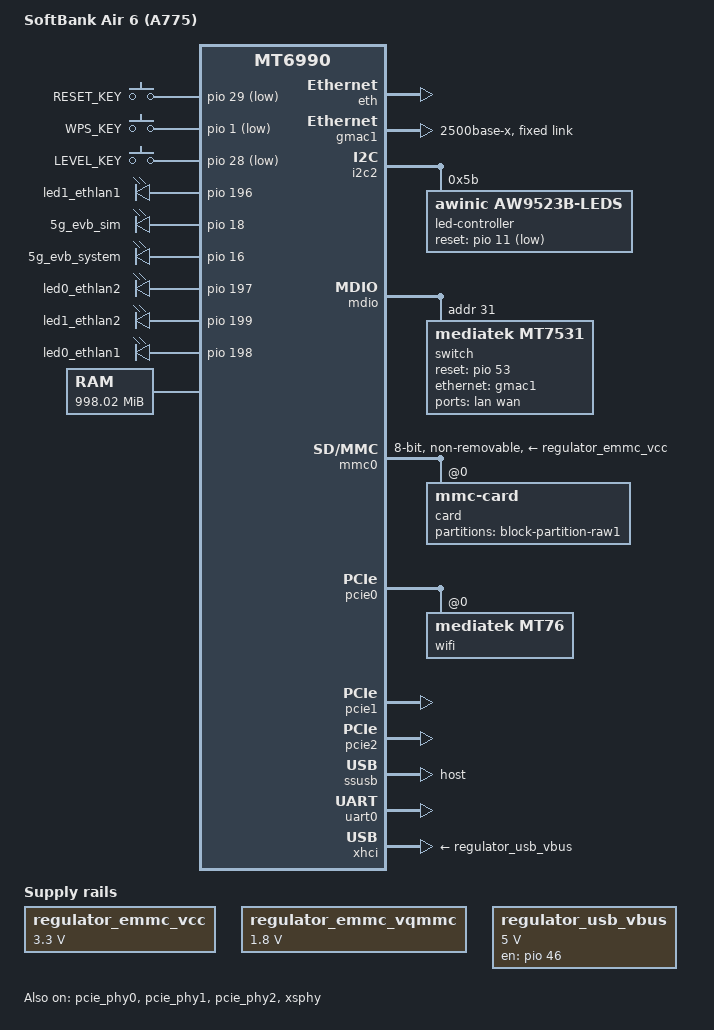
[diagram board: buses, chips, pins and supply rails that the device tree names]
// SPDX-License-Identifier: GPL-2.0-only
/*
 * SoftBank Air 6 (A775)
 */

/dts-v1/;

#include <dt-bindings/gpio/gpio.h>
#include <dt-bindings/input/input.h>
#include <dt-bindings/leds/common.h>
#include <dt-bindings/pinctrl/mt65xx.h>
#include <dt-bindings/thermal/thermal.h>

#include "mt6990.dtsi"

/ {
	model = "SoftBank Air 6 (A775)";
	compatible = "softbank,air6", "mediatek,mt6990";

	aliases {
		led-boot = &led_power_green;
		led-failsafe = &led_power_red;
		led-running = &led_power_green;
		led-upgrade = &led_power_green;
	};

	/*
	 * LK keeps these arguments and appends its own (root=, bootslot=, ...).
	 * clk_ignore_unused and fw_devlink=off keep clocks and probe order as in the
	 * stock firmware; the ramoops region matches /reserved-memory; the
	 * air6_dt_bootargs=1 marker shows that the arguments came from this file.
	 */
	chosen {
		bootargs = "console=tty0 console=ttyS0,115200n1 init=/etc/preinit root=/dev/mmcblk0p39 rootwait loglevel=8 androidboot.selinux=permissive androidboot.hardware=mt6990 mtk_printk_ctrl.disable_uart=0 clk_ignore_unused fw_devlink=off deferred_probe_timeout=10 pci=pcie_bus_safe ramoops.mem_address=0x9c100000 ramoops.mem_size=0xe0000 ramoops.record_size=0x1000 ramoops.pmsg_size=0x10000 ramoops.console_size=0x40000 ramoops.ftrace_size=0x1000 air6_dt_bootargs=1";
	};

	keys {
		compatible = "gpio-keys-polled";
		poll-interval = <20>;

		button-reset {
			label = "RESET_KEY";
			gpios = <&pio 29 GPIO_ACTIVE_LOW>;
			debounce-interval = <60>;
			linux,code = <KEY_RESTART>;
		};

		button-wps {
			label = "WPS_KEY";
			gpios = <&pio 1 GPIO_ACTIVE_LOW>;
			debounce-interval = <60>;
			linux,code = <KEY_WPS_BUTTON>;
		};

		button-level {
			label = "LEVEL_KEY";
			gpios = <&pio 28 GPIO_ACTIVE_LOW>;
			debounce-interval = <60>;
			linux,code = <BTN_0>;
		};
	};

	/*
	 * Ethernet jack LEDs on SoC GPIOs. The labels are the names that
	 * board.d/01_leds uses; the 5g_evb_* LEDs come from the stock device tree.
	 */
	leds {
		compatible = "gpio-leds";

		led-0 {
			label = "led1_ethlan1";
			gpios = <&pio 196 GPIO_ACTIVE_HIGH>;
			default-state = "off";
		};

		led-1 {
			label = "5g_evb_sim";
			gpios = <&pio 18 GPIO_ACTIVE_HIGH>;
			default-state = "off";
		};

		led-2 {
			label = "5g_evb_system";
			gpios = <&pio 16 GPIO_ACTIVE_HIGH>;
			default-state = "off";
		};

		led-3 {
			label = "led0_ethlan2";
			gpios = <&pio 197 GPIO_ACTIVE_HIGH>;
			default-state = "off";
		};

		led-4 {
			label = "led1_ethlan2";
			gpios = <&pio 199 GPIO_ACTIVE_HIGH>;
			default-state = "off";
		};

		led-5 {
			label = "led0_ethlan1";
			gpios = <&pio 198 GPIO_ACTIVE_HIGH>;
			default-state = "off";
		};
	};

	/* LK replaces reg with the size of the installed DRAM. */
	memory {
		reg = <0 0x80000000 0 0x3e605000>;
		device_type = "memory";
	};

	regulator_emmc_vcc: regulator-emmc-vcc {
		compatible = "regulator-fixed";
		regulator-name = "emmc_vcc";
		regulator-min-microvolt = <3300000>;
		regulator-max-microvolt = <3300000>;
		regulator-always-on;
		regulator-boot-on;
	};

	regulator_emmc_vqmmc: regulator-emmc-vqmmc {
		compatible = "regulator-fixed";
		regulator-name = "emmc_vqmmc";
		regulator-min-microvolt = <1800000>;
		regulator-max-microvolt = <1800000>;
		regulator-always-on;
		regulator-boot-on;
	};

	regulator_usb_vbus: regulator-usb-vbus {
		compatible = "regulator-fixed";
		regulator-name = "usb_vbus";
		regulator-min-microvolt = <5000000>;
		regulator-max-microvolt = <5000000>;
		gpio = <&pio 46 GPIO_ACTIVE_HIGH>;
		enable-active-high;
	};

	/*
	 * USB dual-role (OTG) switching as described by the stock tree: not compiled
	 * in. This build runs the port as host only and has no extcon or role-switch
	 * driver. The stock firmware runs the controller with dr_mode = "otg" and
	 * drives the role from GPIO 45 (ID) and 46 (VBUS) in Quectel code; its
	 * extcon_usb takes VBUS from a charger regulator instead of drvbus-gpio.
	 */
#if 0
	extcon_usb {
		compatible = "mediatek,extcon-usb";
		drvbus-gpio = <&pio 46 GPIO_ACTIVE_HIGH>;

		port {
			extcon_usb_role: endpoint@0 {
				remote-endpoint = <&ssusb_role_extcon>;
			};
		};
	};
#endif

	/* Modem side (NTC sensors of the RF front end): not compiled in, see the modem note in mt6990.dtsi. */
#if 0
	thermal_ntc2: thermal-ntc2 {
		compatible = "mediatek,mt6980-board-ntc";
		reg = <0 0x128050d8 0 0x4>;
		temperature-lookup-table = <(-40000) 4397119
		                            (-39000) 4092874
		                            (-38000) 3811717
		                            (-37000) 3551749
		                            (-36000) 3311236
		                            (-35000) 3088599
		                            (-34000) 2882396
		                            (-33000) 2691310
		                            (-32000) 2514137
		                            (-31000) 2349778
		                            (-30000) 2197225
		                            (-29000) 2055558
		                            (-28000) 1923932
		                            (-27000) 1801573
		                            (-26000) 1687773
		                            (-25000) 1581881
		                            (-24000) 1483100
		                            (-23000) 1391113
		                            (-22000) 1305413
		                            (-21000) 1225531
		                            (-20000) 1151037
		                            (-19000) 1081535
		                            (-18000) 1016661
		                            (-17000) 956080
		                            (-16000) 899481
		                            (-15000) 846579
		                            (-14000) 797111
		                            (-13000) 750834
		                            (-12000) 707524
		                            (-11000) 666972
		                            (-10000) 628988
		                            (-9000) 593342
		                            (-8000) 559931
		                            (-7000) 528602
		                            (-6000) 499212
		                            (-5000) 471632
		                            (-4000) 445772
		                            (-3000) 421480
		                            (-2000) 398652
		                            (-1000) 377193
		                            0 357012
		                            1000 338006
		                            2000 320122
		                            3000 303287
		                            4000 287434
		                            5000 272500
		                            6000 258426
		                            7000 245160
		                            8000 232649
		                            9000 220847
		                            10000 209710
		                            11000 199196
		                            12000 189268
		                            13000 179890
		                            14000 171027
		                            15000 162651
		                            16000 154726
		                            17000 147232
		                            18000 140142
		                            19000 133432
		                            20000 127080
		                            21000 121066
		                            22000 115368
		                            23000 109970
		                            24000 104852
		                            25000 100000
		                            26000 95398
		                            27000 91032
		                            28000 86889
		                            29000 82956
		                            30000 79222
		                            31000 75675
		                            32000 72306
		                            33000 69104
		                            34000 66061
		                            35000 63167
		                            36000 60415
		                            37000 57797
		                            38000 55306
		                            39000 52934
		                            40000 50677
		                            41000 48528
		                            42000 46482
		                            43000 44533
		                            44000 42675
		                            45000 40904
		                            46000 39213
		                            47000 37601
		                            48000 36063
		                            49000 34595
		                            50000 33195
		                            51000 31859
		                            52000 30584
		                            53000 29366
		                            54000 28203
		                            55000 27091
		                            56000 26028
		                            57000 25013
		                            58000 24042
		                            59000 23113
		                            60000 22224
		                            61000 21374
		                            62000 20560
		                            63000 19782
		                            64000 19036
		                            65000 18322
		                            66000 17640
		                            67000 16986
		                            68000 16360
		                            69000 15759
		                            70000 15184
		                            71000 14631
		                            72000 14100
		                            73000 13591
		                            74000 13103
		                            75000 12635
		                            76000 12187
		                            77000 11756
		                            78000 11343
		                            79000 10946
		                            80000 10565
		                            81000 10199
		                            82000 9847
		                            83000 9509
		                            84000 9184
		                            85000 8872
		                            86000 8572
		                            87000 8283
		                            88000 8005
		                            89000 7738
		                            90000 7481
		                            91000 7234
		                            92000 6997
		                            93000 6769
		                            94000 6548
		                            95000 6337
		                            96000 6132
		                            97000 5934
		                            98000 5744
		                            99000 5561
		                            100000 5384
		                            101000 5214
		                            102000 5051
		                            103000 4893
		                            104000 4741
		                            105000 4594
		                            106000 4453
		                            107000 4316
		                            108000 4184
		                            109000 4057
		                            110000 3934
		                            111000 3816
		                            112000 3701
		                            113000 3591
		                            114000 3484
		                            115000 3380
		                            116000 3281
		                            117000 3185
		                            118000 3093
		                            119000 3003
		                            120000 2916
		                            121000 2832
		                            122000 2751
		                            123000 2672
		                            124000 2596
		                            125000 2522>;
		#thermal-sensor-cells = <0>;
	};

	thermal_ntc3: thermal-ntc3 {
		compatible = "mediatek,mt6980-board-ntc";
		reg = <0 0x128050dc 0 0x4>;
		temperature-lookup-table = <(-40000) 4397119
		                            (-39000) 4092874
		                            (-38000) 3811717
		                            (-37000) 3551749
		                            (-36000) 3311236
		                            (-35000) 3088599
		                            (-34000) 2882396
		                            (-33000) 2691310
		                            (-32000) 2514137
		                            (-31000) 2349778
		                            (-30000) 2197225
		                            (-29000) 2055558
		                            (-28000) 1923932
		                            (-27000) 1801573
		                            (-26000) 1687773
		                            (-25000) 1581881
		                            (-24000) 1483100
		                            (-23000) 1391113
		                            (-22000) 1305413
		                            (-21000) 1225531
		                            (-20000) 1151037
		                            (-19000) 1081535
		                            (-18000) 1016661
		                            (-17000) 956080
		                            (-16000) 899481
		                            (-15000) 846579
		                            (-14000) 797111
		                            (-13000) 750834
		                            (-12000) 707524
		                            (-11000) 666972
		                            (-10000) 628988
		                            (-9000) 593342
		                            (-8000) 559931
		                            (-7000) 528602
		                            (-6000) 499212
		                            (-5000) 471632
		                            (-4000) 445772
		                            (-3000) 421480
		                            (-2000) 398652
		                            (-1000) 377193
		                            0 357012
		                            1000 338006
		                            2000 320122
		                            3000 303287
		                            4000 287434
		                            5000 272500
		                            6000 258426
		                            7000 245160
		                            8000 232649
		                            9000 220847
		                            10000 209710
		                            11000 199196
		                            12000 189268
		                            13000 179890
		                            14000 171027
		                            15000 162651
		                            16000 154726
		                            17000 147232
		                            18000 140142
		                            19000 133432
		                            20000 127080
		                            21000 121066
		                            22000 115368
		                            23000 109970
		                            24000 104852
		                            25000 100000
		                            26000 95398
		                            27000 91032
		                            28000 86889
		                            29000 82956
		                            30000 79222
		                            31000 75675
		                            32000 72306
		                            33000 69104
		                            34000 66061
		                            35000 63167
		                            36000 60415
		                            37000 57797
		                            38000 55306
		                            39000 52934
		                            40000 50677
		                            41000 48528
		                            42000 46482
		                            43000 44533
		                            44000 42675
		                            45000 40904
		                            46000 39213
		                            47000 37601
		                            48000 36063
		                            49000 34595
		                            50000 33195
		                            51000 31859
		                            52000 30584
		                            53000 29366
		                            54000 28203
		                            55000 27091
		                            56000 26028
		                            57000 25013
		                            58000 24042
		                            59000 23113
		                            60000 22224
		                            61000 21374
		                            62000 20560
		                            63000 19782
		                            64000 19036
		                            65000 18322
		                            66000 17640
		                            67000 16986
		                            68000 16360
		                            69000 15759
		                            70000 15184
		                            71000 14631
		                            72000 14100
		                            73000 13591
		                            74000 13103
		                            75000 12635
		                            76000 12187
		                            77000 11756
		                            78000 11343
		                            79000 10946
		                            80000 10565
		                            81000 10199
		                            82000 9847
		                            83000 9509
		                            84000 9184
		                            85000 8872
		                            86000 8572
		                            87000 8283
		                            88000 8005
		                            89000 7738
		                            90000 7481
		                            91000 7234
		                            92000 6997
		                            93000 6769
		                            94000 6548
		                            95000 6337
		                            96000 6132
		                            97000 5934
		                            98000 5744
		                            99000 5561
		                            100000 5384
		                            101000 5214
		                            102000 5051
		                            103000 4893
		                            104000 4741
		                            105000 4594
		                            106000 4453
		                            107000 4316
		                            108000 4184
		                            109000 4057
		                            110000 3934
		                            111000 3816
		                            112000 3701
		                            113000 3591
		                            114000 3484
		                            115000 3380
		                            116000 3281
		                            117000 3185
		                            118000 3093
		                            119000 3003
		                            120000 2916
		                            121000 2832
		                            122000 2751
		                            123000 2672
		                            124000 2596
		                            125000 2522>;
		#thermal-sensor-cells = <0>;
	};

	thermal_ntc4: thermal-ntc4 {
		compatible = "mediatek,mt6980-board-ntc";
		reg = <0 0x128050e0 0 0x4>;
		temperature-lookup-table = <(-40000) 4397119
		                            (-39000) 4092874
		                            (-38000) 3811717
		                            (-37000) 3551749
		                            (-36000) 3311236
		                            (-35000) 3088599
		                            (-34000) 2882396
		                            (-33000) 2691310
		                            (-32000) 2514137
		                            (-31000) 2349778
		                            (-30000) 2197225
		                            (-29000) 2055558
		                            (-28000) 1923932
		                            (-27000) 1801573
		                            (-26000) 1687773
		                            (-25000) 1581881
		                            (-24000) 1483100
		                            (-23000) 1391113
		                            (-22000) 1305413
		                            (-21000) 1225531
		                            (-20000) 1151037
		                            (-19000) 1081535
		                            (-18000) 1016661
		                            (-17000) 956080
		                            (-16000) 899481
		                            (-15000) 846579
		                            (-14000) 797111
		                            (-13000) 750834
		                            (-12000) 707524
		                            (-11000) 666972
		                            (-10000) 628988
		                            (-9000) 593342
		                            (-8000) 559931
		                            (-7000) 528602
		                            (-6000) 499212
		                            (-5000) 471632
		                            (-4000) 445772
		                            (-3000) 421480
		                            (-2000) 398652
		                            (-1000) 377193
		                            0 357012
		                            1000 338006
		                            2000 320122
		                            3000 303287
		                            4000 287434
		                            5000 272500
		                            6000 258426
		                            7000 245160
		                            8000 232649
		                            9000 220847
		                            10000 209710
		                            11000 199196
		                            12000 189268
		                            13000 179890
		                            14000 171027
		                            15000 162651
		                            16000 154726
		                            17000 147232
		                            18000 140142
		                            19000 133432
		                            20000 127080
		                            21000 121066
		                            22000 115368
		                            23000 109970
		                            24000 104852
		                            25000 100000
		                            26000 95398
		                            27000 91032
		                            28000 86889
		                            29000 82956
		                            30000 79222
		                            31000 75675
		                            32000 72306
		                            33000 69104
		                            34000 66061
		                            35000 63167
		                            36000 60415
		                            37000 57797
		                            38000 55306
		                            39000 52934
		                            40000 50677
		                            41000 48528
		                            42000 46482
		                            43000 44533
		                            44000 42675
		                            45000 40904
		                            46000 39213
		                            47000 37601
		                            48000 36063
		                            49000 34595
		                            50000 33195
		                            51000 31859
		                            52000 30584
		                            53000 29366
		                            54000 28203
		                            55000 27091
		                            56000 26028
		                            57000 25013
		                            58000 24042
		                            59000 23113
		                            60000 22224
		                            61000 21374
		                            62000 20560
		                            63000 19782
		                            64000 19036
		                            65000 18322
		                            66000 17640
		                            67000 16986
		                            68000 16360
		                            69000 15759
		                            70000 15184
		                            71000 14631
		                            72000 14100
		                            73000 13591
		                            74000 13103
		                            75000 12635
		                            76000 12187
		                            77000 11756
		                            78000 11343
		                            79000 10946
		                            80000 10565
		                            81000 10199
		                            82000 9847
		                            83000 9509
		                            84000 9184
		                            85000 8872
		                            86000 8572
		                            87000 8283
		                            88000 8005
		                            89000 7738
		                            90000 7481
		                            91000 7234
		                            92000 6997
		                            93000 6769
		                            94000 6548
		                            95000 6337
		                            96000 6132
		                            97000 5934
		                            98000 5744
		                            99000 5561
		                            100000 5384
		                            101000 5214
		                            102000 5051
		                            103000 4893
		                            104000 4741
		                            105000 4594
		                            106000 4453
		                            107000 4316
		                            108000 4184
		                            109000 4057
		                            110000 3934
		                            111000 3816
		                            112000 3701
		                            113000 3591
		                            114000 3484
		                            115000 3380
		                            116000 3281
		                            117000 3185
		                            118000 3093
		                            119000 3003
		                            120000 2916
		                            121000 2832
		                            122000 2751
		                            123000 2672
		                            124000 2596
		                            125000 2522>;
		#thermal-sensor-cells = <0>;
	};

	thermal-zones {
		nrpa-ntc-thermal {
			polling-delay = <1000>;
			polling-delay-passive = <1000>;
			thermal-sensors = <&thermal_ntc2>;

			trips {
				nrpa_ntc_trip: nrpa_ntc_trip@0 {
					temperature = <82000>;
					hysteresis = <2000>;
					type = "passive";
				};

				nrpa_ntc_trip_1: nrpa_ntc_trip@1 {
					temperature = <90000>;
					hysteresis = <2000>;
					type = "passive";
				};

				nrpa_ntc_trip@2 {
					temperature = <100000>;
					hysteresis = <2000>;
					type = "critical";
				};
			};

			cooling-maps {
				map0 {
					trip = <&nrpa_ntc_trip>;
					cooling-device = <&mutt_pa2 0 6>;
					#cooling-device = <57 0xffffffff 0xffffffff>;
				};

				map1 {
					trip = <&nrpa_ntc_trip_1>;
					cooling-device = <&mutt_pa2_no_ims THERMAL_NO_LIMIT
					                  THERMAL_NO_LIMIT>;
				};
			};
		};

		ltepa-ntc-thermal {
			polling-delay = <1000>;
			polling-delay-passive = <1000>;
			thermal-sensors = <&thermal_ntc3>;

			trips {
				ltepa_ntc_trip: ltepa_ntc_trip@0 {
					temperature = <82000>;
					hysteresis = <2000>;
					type = "passive";
				};

				ltepa_ntc_trip_1: ltepa_ntc_trip@1 {
					temperature = <90000>;
					hysteresis = <2000>;
					type = "passive";
				};

				ltepa_ntc_trip@2 {
					temperature = <100000>;
					hysteresis = <2000>;
					type = "critical";
				};
			};

			cooling-maps {
				map0 {
					trip = <&ltepa_ntc_trip>;
					cooling-device = <&mutt_pa1 0 6>;
					#cooling-device = <62 0xffffffff 0xffffffff>;
				};

				map1 {
					trip = <&ltepa_ntc_trip_1>;
					cooling-device = <&mutt_pa1_no_ims THERMAL_NO_LIMIT
					                  THERMAL_NO_LIMIT>;
				};
			};
		};

		rf-ntc-thermal {
			polling-delay = <1000>;
			polling-delay-passive = <1000>;
			thermal-sensors = <&thermal_ntc4>;

			trips {
				rf_ntc_crit@0 {
					temperature = <100000>;
					hysteresis = <2000>;
					type = "critical";
				};
			};
		};

		md-rf-thermal {
			polling-delay = <1000>;
			polling-delay-passive = <1000>;
			thermal-sensors = <&md_rf_ic>;

			trips {
				md_rf_crit@0 {
					temperature = <117000>;
					hysteresis = <2000>;
					type = "critical";
				};
			};
		};
	};
#endif /* modem */
};

&eth {
	pinctrl-names = "eth_gpio_default", "eth_smi_mdio_pinctl", "eth_smi_mdc_pinctl";
	pinctrl-0 = <&mdio_default_pins>;
	pinctrl-1 = <&eth_smi_mdio_pins>;
	pinctrl-2 = <&eth_smi_mdc_pins>;
	status = "okay";
};

&gmac1 {
	phy-mode = "2500base-x";
	status = "okay";

	fixed-link {
		speed = <2500>;
		full-duplex;
		pause;
	};
};

&i2c2 {
	status = "okay";

	/*
	 * Front-panel LEDs. Pins as in the stock firmware: 0-7 = P0_0-P0_7,
	 * 8-14 = P1_0-P1_6. The signal bars are lv1 (red and blue), lv2 and lv3 (blue).
	 */
	led-controller@5b {
		compatible = "awinic,aw9523b-leds";
		reg = <0x5b>;
		reset-gpios = <&pio 11 GPIO_ACTIVE_LOW>;
		#address-cells = <1>;
		#size-cells = <0>;

		led@0 {
			reg = <0>;
			color = <LED_COLOR_ID_BLUE>;
			function = LED_FUNCTION_WLAN;
		};

		led@1 {
			reg = <1>;
			color = <LED_COLOR_ID_RED>;
			function = "sim";
		};

		led@2 {
			reg = <2>;
			color = <LED_COLOR_ID_GREEN>;
			function = "sim";
		};

		led@3 {
			reg = <3>;
			color = <LED_COLOR_ID_RED>;
			function = LED_FUNCTION_MOBILE;
		};

		led@4 {
			reg = <4>;
			color = <LED_COLOR_ID_GREEN>;
			function = LED_FUNCTION_MOBILE;
		};

		led@5 {
			reg = <5>;
			color = <LED_COLOR_ID_BLUE>;
			function = LED_FUNCTION_MOBILE;
		};

		led@6 {
			reg = <6>;
			color = <LED_COLOR_ID_GREEN>;
			function = LED_FUNCTION_STATUS;
		};

		led@7 {
			reg = <7>;
			color = <LED_COLOR_ID_RED>;
			function = "signal";
			function-enumerator = <1>;
		};

		led_power_red: led@8 {
			reg = <8>;
			color = <LED_COLOR_ID_RED>;
			function = LED_FUNCTION_POWER;
		};

		led_power_green: led@9 {
			reg = <9>;
			color = <LED_COLOR_ID_GREEN>;
			function = LED_FUNCTION_POWER;
		};

		led@a {
			reg = <10>;
			color = <LED_COLOR_ID_RED>;
			function = LED_FUNCTION_WLAN;
		};

		led@b {
			reg = <11>;
			color = <LED_COLOR_ID_GREEN>;
			function = LED_FUNCTION_WLAN;
		};

		led@c {
			reg = <12>;
			color = <LED_COLOR_ID_BLUE>;
			function = "signal";
			function-enumerator = <1>;
		};

		led@d {
			reg = <13>;
			color = <LED_COLOR_ID_BLUE>;
			function = "signal";
			function-enumerator = <2>;
		};

		led@e {
			reg = <14>;
			color = <LED_COLOR_ID_BLUE>;
			function = "signal";
			function-enumerator = <3>;
		};
	};
};

&mdio {
	switch: switch@1f {
		compatible = "mediatek,mt7531";
		reg = <0x1f>;
		reset-gpios = <&pio 53 GPIO_ACTIVE_HIGH>;

		ports {
			#address-cells = <1>;
			#size-cells = <0>;

			port@1 {
				reg = <1>;
				label = "lan";
			};

			port@2 {
				reg = <2>;
				label = "wan";
			};

			port@5 {
				reg = <5>;
				ethernet = <&gmac1>;
				phy-mode = "2500base-x";

				fixed-link {
					speed = <2500>;
					full-duplex;
					pause;
				};
			};
		};
	};
};

&mmc0 {
	pinctrl-names = "default", "state_uhs";
	pinctrl-0 = <&mmc0_default_pins>;
	pinctrl-1 = <&mmc0_uhs_pins>;
	vmmc-supply = <&regulator_emmc_vcc>;
	vqmmc-supply = <&regulator_emmc_vqmmc>;
	bus-width = <8>;
	max-frequency = <200000000>;
	cap-mmc-highspeed;
	mmc-ddr-1_8v;
	mmc-hs200-1_8v;
	mmc-hs400-1_8v;
	cap-mmc-hw-reset;
	hs400-ds-delay = <75796>;
	supports-cqe;
	non-removable;
	no-sd;
	no-sdio;
	status = "okay";

	card@0 {
		compatible = "mmc-card";
		reg = <0>;

		block {
			compatible = "block-device";

			partitions {
				block-partition-raw1 {
					partname = "raw1";

					nvmem-layout {
						compatible = "fixed-layout";
						#address-cells = <1>;
						#size-cells = <1>;

						eeprom: eeprom@100000 {
							reg = <0x100000 0x1e00>;
						};
					};
				};
			};
		};
	};
};

&pcie0 {
	pinctrl-names = "default", "idle", "sleep";
	pinctrl-0 = <&pcie0_default_pins>;
	pinctrl-1 = <&pcie0_idle_pins>;
	pinctrl-2 = <&pcie0_sleep_pins>;
	status = "okay";

	pcie@0,0 {
		reg = <0 0 0 0 0>;
		#address-cells = <3>;
		#size-cells = <2>;

		wifi@0,0 {
			compatible = "mediatek,mt76";
			reg = <0 0 0 0 0>;
			nvmem-cells = <&eeprom>;
			nvmem-cell-names = "eeprom";
		};
	};
};

&pcie1 {
	pinctrl-names = "default", "idle", "sleep";
	pinctrl-0 = <&pcie1_default_pins>;
	pinctrl-1 = <&pcie1_idle_pins>;
	pinctrl-2 = <&pcie1_sleep_pins>;
	status = "okay";
};

&pcie2 {
	pinctrl-names = "default", "idle", "sleep";
	pinctrl-0 = <&pcie2_default_pins>;
	pinctrl-1 = <&pcie2_idle_pins>;
	pinctrl-2 = <&pcie2_sleep_pins>;
	status = "okay";
};

&pcie_phy0 {
	status = "okay";
};

&pcie_phy1 {
	status = "okay";
};

&pcie_phy2 {
	status = "okay";
};

&pio {
	mmc0_default_pins: mmc0-default-pins {
		pins-cmd-dat {
			pinmux = <(MTK_PIN_NO(210) | 1)>,
			         <(MTK_PIN_NO(209) | 1)>,
			         <(MTK_PIN_NO(208) | 1)>,
			         <(MTK_PIN_NO(207) | 1)>,
			         <(MTK_PIN_NO(203) | 1)>,
			         <(MTK_PIN_NO(202) | 1)>,
			         <(MTK_PIN_NO(201) | 1)>,
			         <(MTK_PIN_NO(200) | 1)>,
			         <(MTK_PIN_NO(205) | 1)>;
			input-enable;
			mediatek,pull-up-adv = <MTK_PUPD_SET_R1R0_01>;
		};

		pins-clk {
			pinmux = <(MTK_PIN_NO(206) | 1)>;
			mediatek,pull-down-adv = <MTK_PUPD_SET_R1R0_10>;
		};

		pins-rst {
			pinmux = <(MTK_PIN_NO(204) | 1)>;
			mediatek,pull-up-adv = <MTK_PUPD_SET_R1R0_00>;
		};
	};

	mmc0_uhs_pins: mmc0-uhs-pins {
		pins-cmd-dat {
			pinmux = <(MTK_PIN_NO(210) | 1)>,
			         <(MTK_PIN_NO(209) | 1)>,
			         <(MTK_PIN_NO(208) | 1)>,
			         <(MTK_PIN_NO(207) | 1)>,
			         <(MTK_PIN_NO(203) | 1)>,
			         <(MTK_PIN_NO(202) | 1)>,
			         <(MTK_PIN_NO(201) | 1)>,
			         <(MTK_PIN_NO(200) | 1)>,
			         <(MTK_PIN_NO(205) | 1)>;
			input-enable;
			drive-strength = <3>;
			mediatek,pull-up-adv = <MTK_PUPD_SET_R1R0_01>;
		};

		pins-clk {
			pinmux = <(MTK_PIN_NO(206) | 1)>;
			drive-strength = <3>;
			mediatek,pull-down-adv = <MTK_PUPD_SET_R1R0_10>;
		};

		pins-ds {
			pinmux = <(MTK_PIN_NO(211) | 1)>;
			drive-strength = <3>;
			mediatek,pull-down-adv = <MTK_PUPD_SET_R1R0_10>;
		};

		pins-rst {
			pinmux = <(MTK_PIN_NO(204) | 1)>;
			drive-strength = <3>;
			mediatek,pull-up-adv = <MTK_PUPD_SET_R1R0_00>;
		};
	};

	pcie0_default_pins: pcie0-default-pins {
		mux {
			pinmux = <(MTK_PIN_NO(54) | 1)>,
			         <(MTK_PIN_NO(55) | 1)>,
			         <(MTK_PIN_NO(56) | 1)>;
			drive-strength = <1>;
			bias-pull-up;
		};
	};

	pcie0_idle_pins: pcie0-idle-pins {
		mux {
			pinmux = <(MTK_PIN_NO(54) | 0)>,
			         <(MTK_PIN_NO(55) | 0)>,
			         <(MTK_PIN_NO(56) | 0)>;
			bias-pull-down;
		};
	};

	pcie0_sleep_pins: pcie0-sleep-pins {
		mux {
			pinmux = <(MTK_PIN_NO(54) | 0)>,
			         <(MTK_PIN_NO(55) | 0)>,
			         <(MTK_PIN_NO(56) | 0)>;
			bias-pull-down;
		};
	};

	pcie1_default_pins: pcie1-default-pins {
		mux {
			pinmux = <(MTK_PIN_NO(57) | 1)>,
			         <(MTK_PIN_NO(58) | 1)>,
			         <(MTK_PIN_NO(59) | 1)>;
			drive-strength = <1>;
			bias-pull-up;
		};
	};

	pcie1_idle_pins: pcie1-idle-pins {
		mux {
			pinmux = <(MTK_PIN_NO(57) | 0)>,
			         <(MTK_PIN_NO(58) | 0)>,
			         <(MTK_PIN_NO(59) | 0)>;
			bias-pull-down;
		};
	};

	pcie1_sleep_pins: pcie1-sleep-pins {
		mux {
			pinmux = <(MTK_PIN_NO(57) | 0)>,
			         <(MTK_PIN_NO(58) | 0)>,
			         <(MTK_PIN_NO(59) | 0)>;
			bias-pull-down;
		};
	};

	pcie2_default_pins: pcie2-default-pins {
		mux {
			pinmux = <(MTK_PIN_NO(60) | 1)>,
			         <(MTK_PIN_NO(61) | 1)>,
			         <(MTK_PIN_NO(62) | 1)>;
			drive-strength = <1>;
			bias-pull-up;
		};
	};

	pcie2_idle_pins: pcie2-idle-pins {
		mux {
			pinmux = <(MTK_PIN_NO(60) | 0)>,
			         <(MTK_PIN_NO(61) | 0)>,
			         <(MTK_PIN_NO(62) | 0)>;
			bias-pull-down;
		};
	};

	pcie2_sleep_pins: pcie2-sleep-pins {
		mux {
			pinmux = <(MTK_PIN_NO(60) | 0)>,
			         <(MTK_PIN_NO(61) | 0)>,
			         <(MTK_PIN_NO(62) | 0)>;
			bias-pull-down;
		};
	};

	mdio_default_pins: mdio-default-pins {
		mux {
			pinmux = <(MTK_PIN_NO(48) | 0)>;
		};
	};

	eth_smi_mdio_pins: eth-smi-mdio-pins {
		mux {
			pinmux = <(MTK_PIN_NO(48) | 1)>;
		};
	};

	eth_smi_mdc_pins: eth-smi-mdc-pins {
		mux {
			pinmux = <(MTK_PIN_NO(49) | 1)>;
		};
	};

	usb_sw_pins: usb-sw-pins {
		pins-cmd-dat {
			pinmux = <(MTK_PIN_NO(100) | 0)>;
			output-low;
		};
	};
};

&ssusb {
	dr_mode = "host";
	pinctrl-names = "default";
	pinctrl-0 = <&usb_sw_pins>;
	status = "okay";
	/* USB dual-role (OTG): not compiled in, see the note at /extcon_usb */
#if 0
	usb-role-switch;
#endif

	/* USB dual-role (OTG): not compiled in, see the note at /extcon_usb */
#if 0
	port {
		ssusb_role_extcon: endpoint@0 {
			remote-endpoint = <&extcon_usb_role>;
		};

		ssusb_role_microb: endpoint@1 {
			remote-endpoint = <&extcon_microb_role>;
		};
	};
#endif
};

&uart0 {
	status = "okay";
};

&xhci {
	vbus-supply = <&regulator_usb_vbus>;
};

&xsphy {
	status = "okay";
};
